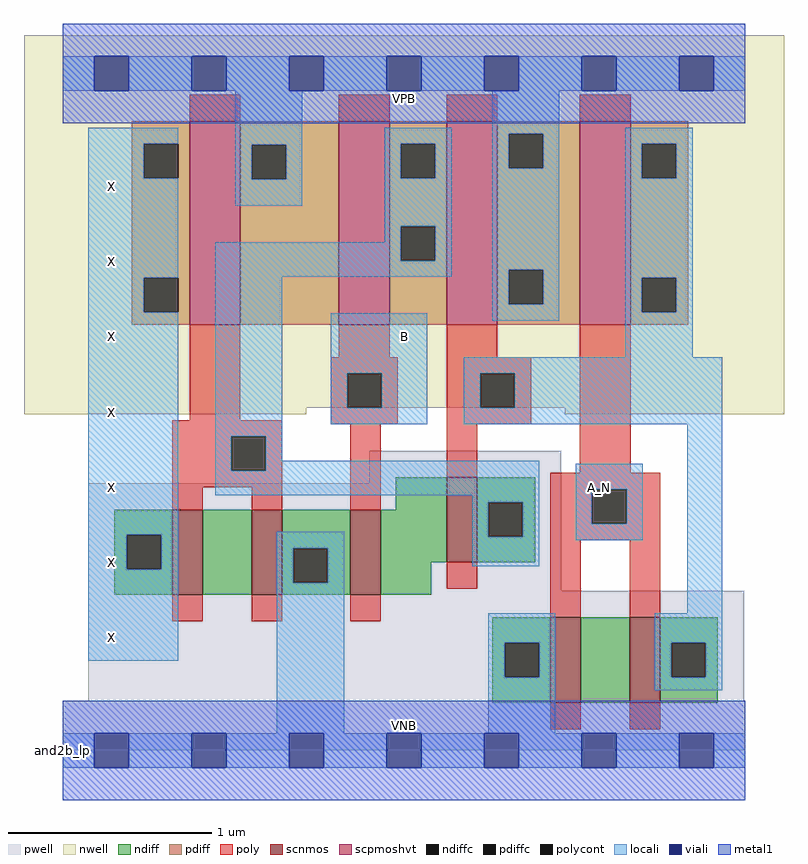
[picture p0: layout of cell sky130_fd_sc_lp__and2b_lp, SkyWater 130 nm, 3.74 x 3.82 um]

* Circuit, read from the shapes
.subckt sky130_fd_sc_lp__and2b_lp A_N B VGND VNB VPB VPWR X
XM1 n1 n2 X VNB sky130_fd_pr__nfet_01v8 w=0.42 l=0.15
XM2 VGND n2 n1 VNB sky130_fd_pr__nfet_01v8 w=0.42 l=0.15
XM3 n3 B VGND VNB sky130_fd_pr__nfet_01v8 w=0.42 l=0.15
XM4 n2 n4 n3 VNB sky130_fd_pr__nfet_01v8 w=0.42 l=0.15
XM5 n5 A_N VGND VNB sky130_fd_pr__nfet_01v8 w=0.42 l=0.15
XM6 n4 A_N n5 VNB sky130_fd_pr__nfet_01v8 w=0.42 l=0.15
XM7 VPWR n2 X VPB sky130_fd_pr__pfet_01v8_hvt w=1 l=0.25
XM8 n2 B VPWR VPB sky130_fd_pr__pfet_01v8_hvt w=1 l=0.25
XM9 VPWR n4 n2 VPB sky130_fd_pr__pfet_01v8_hvt w=1 l=0.25
XM10 n4 A_N VPWR VPB sky130_fd_pr__pfet_01v8_hvt w=1 l=0.25
.ends

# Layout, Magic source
magic
tech sky130A
magscale 1 2
<< nwell >>
rect -38 337 710 704
rect -38 331 240 337
rect 494 331 710 337
<< pwell >>
rect 302 263 491 295
rect 25 157 491 263
rect 25 49 671 157
rect 0 0 672 49
<< scnmos >>
rect 108 153 138 237
rect 186 153 216 237
rect 283 153 313 237
rect 378 185 408 269
rect 480 47 510 131
rect 558 47 588 131
<< scpmoshvt >>
rect 125 419 175 619
rect 272 419 322 619
rect 378 419 428 619
rect 509 419 559 619
<< ndiff >>
rect 328 237 378 269
rect 51 212 108 237
rect 51 178 63 212
rect 97 178 108 212
rect 51 153 108 178
rect 138 153 186 237
rect 216 199 283 237
rect 216 165 227 199
rect 261 165 283 199
rect 216 153 283 165
rect 313 185 378 237
rect 408 244 465 269
rect 408 210 419 244
rect 453 210 465 244
rect 408 185 465 210
rect 313 153 363 185
rect 423 106 480 131
rect 423 72 435 106
rect 469 72 480 106
rect 423 47 480 72
rect 510 47 558 131
rect 588 106 645 131
rect 588 72 599 106
rect 633 72 645 106
rect 588 47 645 72
<< pdiff >>
rect 68 597 125 619
rect 68 563 80 597
rect 114 563 125 597
rect 68 465 125 563
rect 68 431 80 465
rect 114 431 125 465
rect 68 419 125 431
rect 175 596 272 619
rect 175 562 186 596
rect 220 562 272 596
rect 175 419 272 562
rect 322 597 378 619
rect 322 563 333 597
rect 367 563 378 597
rect 322 516 378 563
rect 322 482 333 516
rect 367 482 378 516
rect 322 419 378 482
rect 428 607 509 619
rect 428 573 439 607
rect 473 573 509 607
rect 428 473 509 573
rect 428 439 439 473
rect 473 439 509 473
rect 428 419 509 439
rect 559 597 616 619
rect 559 563 570 597
rect 604 563 616 597
rect 559 465 616 563
rect 559 431 570 465
rect 604 431 616 465
rect 559 419 616 431
<< ndiffc >>
rect 63 178 97 212
rect 227 165 261 199
rect 419 210 453 244
rect 435 72 469 106
rect 599 72 633 106
<< pdiffc >>
rect 80 563 114 597
rect 80 431 114 465
rect 186 562 220 596
rect 333 563 367 597
rect 333 482 367 516
rect 439 573 473 607
rect 439 439 473 473
rect 570 563 604 597
rect 570 431 604 465
<< poly >>
rect 125 619 175 645
rect 272 619 322 645
rect 378 619 428 645
rect 509 619 559 645
rect 125 325 175 419
rect 272 387 322 419
rect 378 387 428 419
rect 264 371 330 387
rect 264 337 280 371
rect 314 337 330 371
rect 108 309 216 325
rect 264 321 330 337
rect 378 371 461 387
rect 378 337 411 371
rect 445 337 461 371
rect 378 321 461 337
rect 108 275 166 309
rect 200 275 216 309
rect 108 259 216 275
rect 108 237 138 259
rect 186 237 216 259
rect 283 237 313 321
rect 378 269 408 321
rect 509 273 559 419
rect 480 257 588 273
rect 480 223 521 257
rect 555 223 588 257
rect 480 207 588 223
rect 378 159 408 185
rect 108 127 138 153
rect 186 127 216 153
rect 283 127 313 153
rect 480 131 510 207
rect 558 131 588 207
rect 480 21 510 47
rect 558 21 588 47
<< polycont >>
rect 280 337 314 371
rect 411 337 445 371
rect 166 275 200 309
rect 521 223 555 257
<< locali >>
rect 0 649 31 683
rect 65 649 127 683
rect 161 649 223 683
rect 257 649 319 683
rect 353 649 415 683
rect 449 649 511 683
rect 545 649 607 683
rect 641 649 672 683
rect 25 597 114 613
rect 25 563 80 597
rect 25 465 114 563
rect 170 596 236 649
rect 170 562 186 596
rect 220 562 236 596
rect 170 536 236 562
rect 317 597 383 613
rect 317 563 333 597
rect 367 563 383 597
rect 317 516 383 563
rect 317 500 333 516
rect 25 431 80 465
rect 25 212 114 431
rect 150 482 333 500
rect 367 482 383 516
rect 150 466 383 482
rect 423 607 489 649
rect 423 573 439 607
rect 473 573 489 607
rect 423 473 489 573
rect 150 309 216 466
rect 423 439 439 473
rect 473 439 489 473
rect 264 371 359 430
rect 423 423 489 439
rect 554 597 620 613
rect 554 563 570 597
rect 604 563 620 597
rect 554 465 620 563
rect 554 431 570 465
rect 604 431 620 465
rect 554 387 620 431
rect 264 337 280 371
rect 314 337 359 371
rect 264 321 359 337
rect 395 371 649 387
rect 395 337 411 371
rect 445 337 649 371
rect 395 321 649 337
rect 150 275 166 309
rect 200 285 216 309
rect 200 275 469 285
rect 150 251 469 275
rect 403 244 469 251
rect 25 178 63 212
rect 97 178 114 212
rect 25 88 114 178
rect 211 199 277 215
rect 211 165 227 199
rect 261 165 277 199
rect 403 210 419 244
rect 453 210 469 244
rect 403 181 469 210
rect 505 257 571 282
rect 505 223 521 257
rect 555 223 571 257
rect 505 207 571 223
rect 211 17 277 165
rect 615 135 649 321
rect 419 106 485 135
rect 419 72 435 106
rect 469 72 485 106
rect 419 17 485 72
rect 583 106 649 135
rect 583 72 599 106
rect 633 72 649 106
rect 583 59 649 72
rect 0 -17 31 17
rect 65 -17 127 17
rect 161 -17 223 17
rect 257 -17 319 17
rect 353 -17 415 17
rect 449 -17 511 17
rect 545 -17 607 17
rect 641 -17 672 17
<< viali >>
rect 31 649 65 683
rect 127 649 161 683
rect 223 649 257 683
rect 319 649 353 683
rect 415 649 449 683
rect 511 649 545 683
rect 607 649 641 683
rect 31 -17 65 17
rect 127 -17 161 17
rect 223 -17 257 17
rect 319 -17 353 17
rect 415 -17 449 17
rect 511 -17 545 17
rect 607 -17 641 17
<< metal1 >>
rect 0 683 672 715
rect 0 649 31 683
rect 65 649 127 683
rect 161 649 223 683
rect 257 649 319 683
rect 353 649 415 683
rect 449 649 511 683
rect 545 649 607 683
rect 641 649 672 683
rect 0 617 672 649
rect 0 17 672 49
rect 0 -17 31 17
rect 65 -17 127 17
rect 161 -17 223 17
rect 257 -17 319 17
rect 353 -17 415 17
rect 449 -17 511 17
rect 545 -17 607 17
rect 641 -17 672 17
rect 0 -49 672 -17
<< labels >>
flabel pwell s 0 0 672 49 0 FreeSans 200 0 0 0 VNB
port 4 nsew ground bidirectional
flabel nwell s 0 617 672 666 0 FreeSans 200 0 0 0 VPB
port 5 nsew power bidirectional
rlabel comment s 0 0 0 0 4 and2b_lp
flabel metal1 s 0 617 672 666 0 FreeSans 340 0 0 0 VPWR
port 6 nsew power bidirectional
flabel metal1 s 0 0 672 49 0 FreeSans 340 0 0 0 VGND
port 3 nsew ground bidirectional
flabel locali s 511 242 545 276 0 FreeSans 340 0 0 0 A_N
port 1 nsew signal input
flabel locali s 319 390 353 424 0 FreeSans 340 0 0 0 B
port 2 nsew signal input
flabel locali s 31 94 65 128 0 FreeSans 340 0 0 0 X
port 7 nsew signal output
flabel locali s 31 168 65 202 0 FreeSans 340 0 0 0 X
port 7 nsew signal output
flabel locali s 31 242 65 276 0 FreeSans 340 0 0 0 X
port 7 nsew signal output
flabel locali s 31 316 65 350 0 FreeSans 340 0 0 0 X
port 7 nsew signal output
flabel locali s 31 390 65 424 0 FreeSans 340 0 0 0 X
port 7 nsew signal output
flabel locali s 31 464 65 498 0 FreeSans 340 0 0 0 X
port 7 nsew signal output
flabel locali s 31 538 65 572 0 FreeSans 340 0 0 0 X
port 7 nsew signal output
<< properties >>
string LEFsite unit
string LEFclass CORE
string FIXED_BBOX 0 0 672 666
string GDS_FILE $PDKPATH/libs.ref/sky130_fd_sc_lp/gds/sky130_fd_sc_lp.gds
string LEFsymmetry X Y R90
string GDS_END 5156618
string GDS_START 5150636
<< end >>
